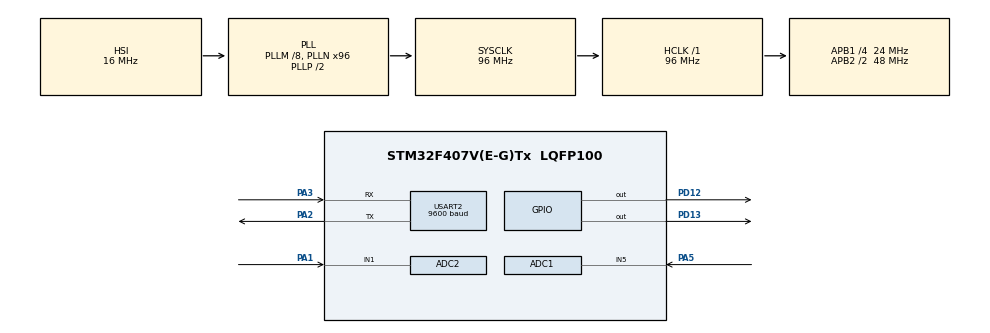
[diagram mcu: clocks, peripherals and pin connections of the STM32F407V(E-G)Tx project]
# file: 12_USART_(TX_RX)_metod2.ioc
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ADC1.Channel-0\#ChannelRegularConversion=ADC_CHANNEL_VREFINT
ADC1.Channel-1\#ChannelRegularConversion=ADC_CHANNEL_5
ADC1.Channel-2\#ChannelRegularConversion=ADC_CHANNEL_TEMPSENSOR
ADC1.ContinuousConvMode=ENABLE
ADC1.DMAContinuousRequests=ENABLE
ADC1.NbrOfConversion=3
ADC1.NbrOfConversionFlag=1
ADC1.Rank-0\#ChannelRegularConversion=1
ADC1.Rank-1\#ChannelRegularConversion=2
ADC1.Rank-2\#ChannelRegularConversion=3
ADC1.SamplingTime-0\#ChannelRegularConversion=ADC_SAMPLETIME_480CYCLES
ADC1.SamplingTime-1\#ChannelRegularConversion=ADC_SAMPLETIME_480CYCLES
ADC1.SamplingTime-2\#ChannelRegularConversion=ADC_SAMPLETIME_480CYCLES
ADC1.ScanConvMode=ENABLE
ADC1.master=1
ADC2.Channel-0\#ChannelRegularConversion=ADC_CHANNEL_1
ADC2.ContinuousConvMode=ENABLE
ADC2.DMAContinuousRequests=ENABLE
ADC2.NbrOfConversionFlag=1
ADC2.Rank-0\#ChannelRegularConversion=1
ADC2.SamplingTime-0\#ChannelRegularConversion=ADC_SAMPLETIME_480CYCLES
Dma.ADC1.0.Direction=DMA_PERIPH_TO_MEMORY
Dma.ADC1.0.FIFOMode=DMA_FIFOMODE_DISABLE
Dma.ADC1.0.Instance=DMA2_Stream0
Dma.ADC1.0.MemDataAlignment=DMA_MDATAALIGN_HALFWORD
Dma.ADC1.0.MemInc=DMA_MINC_ENABLE
Dma.ADC1.0.Mode=DMA_CIRCULAR
Dma.ADC1.0.PeriphDataAlignment=DMA_PDATAALIGN_HALFWORD
Dma.ADC1.0.PeriphInc=DMA_PINC_DISABLE
Dma.ADC1.0.Priority=DMA_PRIORITY_LOW
Dma.ADC2.1.Direction=DMA_PERIPH_TO_MEMORY
Dma.ADC2.1.FIFOMode=DMA_FIFOMODE_DISABLE
Dma.ADC2.1.Instance=DMA2_Stream2
Dma.ADC2.1.MemDataAlignment=DMA_MDATAALIGN_HALFWORD
Dma.ADC2.1.MemInc=DMA_MINC_ENABLE
Dma.ADC2.1.Mode=DMA_CIRCULAR
Dma.ADC2.1.PeriphDataAlignment=DMA_PDATAALIGN_HALFWORD
Dma.ADC2.1.PeriphInc=DMA_PINC_DISABLE
Dma.ADC2.1.Priority=DMA_PRIORITY_LOW
Dma.Request0=ADC1
Dma.Request1=ADC2
Mcu.Family=STM32F4
Mcu.Name=STM32F407V(E-G)Tx
Mcu.Package=LQFP100
NVIC.DMA2_Stream0_IRQn=true\:0\:0\:false\:false\:true\:false
NVIC.DMA2_Stream2_IRQn=true\:0\:0\:false\:false\:true\:false
NVIC.PriorityGroup=NVIC_PRIORITYGROUP_4
NVIC.USART2_IRQn=true\:0\:0\:false\:false\:true\:true
PA1.Signal=ADCx_IN1
PA13.Mode=Serial_Wire
PA13.Signal=SYS_JTMS-SWDIO
PA14.Mode=Serial_Wire
PA14.Signal=SYS_JTCK-SWCLK
PA2.Mode=Asynchronous
PA2.Signal=USART2_TX
PA3.Mode=Asynchronous
PA3.Signal=USART2_RX
PA5.Signal=ADCx_IN5
PD12.Signal=GPIO_Output
PD13.Signal=GPIO_Output
ProjectManager.HeapSize=0x200
ProjectManager.StackSize=0x400
ProjectManager.TargetToolchain=MDK-ARM V5
RCC.48MHZClocksFreq_Value=48000000
RCC.AHBFreq_Value=96000000
RCC.APB1CLKDivider=RCC_HCLK_DIV4
RCC.APB1Freq_Value=24000000
RCC.APB1TimFreq_Value=48000000
RCC.APB2CLKDivider=RCC_HCLK_DIV2
RCC.APB2Freq_Value=48000000
RCC.APB2TimFreq_Value=96000000
RCC.CortexFreq_Value=96000000
RCC.HCLKFreq_Value=96000000
RCC.HSE_VALUE=25000000
RCC.HSI_VALUE=16000000
RCC.LSE_VALUE=32768
RCC.PLLM=8
RCC.PLLN=96
RCC.SYSCLKFreq_VALUE=96000000
RCC.SYSCLKSource=RCC_SYSCLKSOURCE_PLLCLK
RCC.VCOOutputFreq_Value=192000000
SH.ADCx_IN1.0=ADC2_IN1,IN1
SH.ADCx_IN5.0=ADC1_IN5,IN5
USART2.BaudRate=9600
USART2.VirtualMode=VM_ASYNC
VP_ADC1_TempSens_Input.Mode=IN-TempSens
VP_ADC1_Vref_Input.Mode=IN-Vrefint
board=12_USART_(TX_RX)_metod2

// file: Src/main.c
/**
  ******************************************************************************
  * File Name          : main.c
  * Description        : Main program body
  ******************************************************************************
  ** This notice applies to any and all portions of this file
  * that are not between comment pairs USER CODE BEGIN and
  * USER CODE END. Other portions of this file, whether
  * inserted by the user or by software development tools
  * are owned by their respective copyright owners.
  *
  * COPYRIGHT(c) 2018 STMicroelectronics
  *
  * Redistribution and use in source and binary forms, with or without modification,
  * are permitted provided that the following conditions are met:
  *   1. Redistributions of source code must retain the above copyright notice,
  *      this list of conditions and the following disclaimer.
  *   2. Redistributions in binary form must reproduce the above copyright notice,
  *      this list of conditions and the following disclaimer in the documentation
  *      and/or other materials provided with the distribution.
  *   3. Neither the name of STMicroelectronics nor the names of its contributors
  *      may be used to endorse or promote products derived from this software
  *      without specific prior written permission.
  *
  * THIS SOFTWARE IS PROVIDED BY THE COPYRIGHT HOLDERS AND CONTRIBUTORS "AS IS"
  * AND ANY EXPRESS OR IMPLIED WARRANTIES, INCLUDING, BUT NOT LIMITED TO, THE
  * IMPLIED WARRANTIES OF MERCHANTABILITY AND FITNESS FOR A PARTICULAR PURPOSE ARE
  * DISCLAIMED. IN NO EVENT SHALL THE COPYRIGHT HOLDER OR CONTRIBUTORS BE LIABLE
  * FOR ANY DIRECT, INDIRECT, INCIDENTAL, SPECIAL, EXEMPLARY, OR CONSEQUENTIAL
  * DAMAGES (INCLUDING, BUT NOT LIMITED TO, PROCUREMENT OF SUBSTITUTE GOODS OR
  * SERVICES; LOSS OF USE, DATA, OR PROFITS; OR BUSINESS INTERRUPTION) HOWEVER
  * CAUSED AND ON ANY THEORY OF LIABILITY, WHETHER IN CONTRACT, STRICT LIABILITY,
  * OR TORT (INCLUDING NEGLIGENCE OR OTHERWISE) ARISING IN ANY WAY OUT OF THE USE
  * OF THIS SOFTWARE, EVEN IF ADVISED OF THE POSSIBILITY OF SUCH DAMAGE.
  *
  ******************************************************************************
  */
#include "main.h"
#include "stm32f4xx_hal.h"
#include "stdio.h"            // bunuda ekledik ve neden ?
/* USER CODE BEGIN Includes */

// ADC KISMI:

#define VREFIN_Cal ((uint16_t*)((uint32_t)0x1FFF7A2A)) // Vrefin calibration degeri memoriden okunur
#define V25 (float)0.76     // volt
#define avg_slope (float) 0.0025   //    volt/Centigrade

uint16_t adc1_data[3],adc2_data[1];

float Vref=0,Vadc1_ch5=0,Vsense=0, temperature=0,Vadc2_ch1=0;

// UART KISMI:
// hem transmit hem receive yapacagiz...
// stmstduio da gözlemlemek için degilkenler yazdik...

char rx0,rx1,rx2,rx3,rx4,rx5,rx6,rx7,rx8,rx9;
char db0,db1,db2,db3,db4,db5,db6,db7,db8,db9;
char rx[10];
char rx_buffer[10],data_buffer[10];
char tx[50];
uint8_t x=0,i=0,len=0,y=0,indeks=0,z=0,a=0;
uint8_t newline[100],rx_full=0,rx_size=10,d1,d2,d3,d4,d5,d6,d7,d8,d9,d10;
// char* tx_buffer="tx value";
// char* rx_buffer;

/* USER CODE END Includes */

ADC_HandleTypeDef hadc1;
ADC_HandleTypeDef hadc2;
DMA_HandleTypeDef hdma_adc1;
DMA_HandleTypeDef hdma_adc2;

UART_HandleTypeDef huart2;

/* USER CODE BEGIN PV */
/* Private variables ---------------------------------------------------------*/

/* USER CODE END PV */

void SystemClock_Config(void);
static void MX_GPIO_Init(void);
static void MX_DMA_Init(void);
static void MX_ADC1_Init(void);
static void MX_ADC2_Init(void);
static void MX_USART2_UART_Init(void);

/* USER CODE BEGIN PFP */
/* Private function prototypes -----------------------------------------------*/

 // ADC için :

 void HAL_ADC_ConvCpltCallback(ADC_HandleTypeDef* hadc)
 {
		Vref=(float)3.3*(*VREFIN_Cal)/adc1_data[0];
	  Vadc1_ch5=Vref*adc1_data[1]/4095;
	  Vsense=Vref*adc1_data[2]/4095;
    Vadc2_ch1=Vref*adc2_data[0]/4095;

		temperature=(Vsense-V25)/avg_slope+25;

 }

 // uart Tx Kismi :

 // Herbir data iletildiginde Pin toggle olucak :) intterpt ile :)
 //  tx complete call back ine dallaniyor
 // normal mod da yok :=>
 void HAL_UART_TxCpltCallback(UART_HandleTypeDef *huart)
 {
  if (huart->Instance==USART2)
		HAL_GPIO_TogglePin(GPIOD,GPIO_PIN_12);

	  i++;       // ilk örnekteki gönderme islemin kullaniliyor..
	  if(i==4)
		i=0;

 }

// uart Rx Kismi : -- Aktif
 // -ilk basta transmit yapiyoruz ilk örnekteki degerler ile
  void HAL_UART_RxCpltCallback(UART_HandleTypeDef *huart)
  {

  if( huart->Instance==USART2 )
	{
		HAL_GPIO_TogglePin(GPIOD,GPIO_PIN_13);
		rx_full=1;
	} // Rx in buffer'i doldugu zaman buraya dallaniyor..

 }

/* USER CODE END PFP */

int main(void)
{

  /* MCU Configuration----------------------------------------------------------*/

  /* Reset of all peripherals, Initializes the Flash interface and the Systick. */
  HAL_Init();

  /* Configure the system clock */
  SystemClock_Config();

  /* Initialize all configured peripherals */
  MX_GPIO_Init();
  MX_DMA_Init();
  MX_ADC1_Init();
  MX_ADC2_Init();
  MX_USART2_UART_Init();

  /* USER CODE BEGIN 2 */
HAL_ADC_Start_DMA(&hadc1,(uint32_t*)adc1_data,3); // start ettik.
HAL_ADC_Start_DMA(&hadc2,(uint32_t*)adc2_data,1);

  /* Infinite loop */
  /* USER CODE BEGIN WHILE */
  while (1)
  {
  /////////////////////////FIRST EXAMPLE/////////////////////////////
		HAL_UART_Receive_IT(&huart2,(uint8_t*)rx_buffer,10);
        HAL_Delay(100);
		// rx buffer 10 adet veri içeren dizi degiskeni
		// Rx tamamladiginda bir tane interrupta üretiyor fonksiyon yukaridadir..

		rx0=rx_buffer[0];		 // stmstduioda test etmek için rx_bufferlari atadik.
		rx1=rx_buffer[1];		 // asagida ki degerleri öncelikli olarak göndermeyi dene !
		rx2=rx_buffer[2];		 // ilk örnekteki......
		rx3=rx_buffer[3];
		rx4=rx_buffer[4];
		rx5=rx_buffer[5];
		rx6=rx_buffer[6];
		rx7=rx_buffer[7];
		rx8=rx_buffer[8];
		rx9=rx_buffer[9];

		float value[4];
		value[0]=Vref;
		value[1]=Vadc1_ch5;
		value[2]=Vadc2_ch1;
		value[3]=temperature;

		HAL_UART_Transmit_IT(&huart2,(uint8_t*)tx,sprintf(tx,"%d.value=%4.2f\n",i+1,value[i]));
		// Tx tamamladiginda bir tane interrupta üretiyor fonksiyon yukaridadir..
		// AYRICA O interruptta i DEGERI ARTMAKTADIR....
		// size yerine sprintf kullanildi..
		// sprint ile veri gönderiliyor...
		// i degeri interrupta aktif edilir.....
	  HAL_Delay(1000);
     /////////////////////////////////////////////////////////////////////////////////////////

		 /////////////////////////SECOND EXAMPLE/////////////////////////////

  }

}

/** System Clock Configuration
*/
void SystemClock_Config(void)
{

  RCC_OscInitTypeDef RCC_OscInitStruct;
  RCC_ClkInitTypeDef RCC_ClkInitStruct;

    /**Configure the main internal regulator output voltage
    */
  __HAL_RCC_PWR_CLK_ENABLE();

  __HAL_PWR_VOLTAGESCALING_CONFIG(PWR_REGULATOR_VOLTAGE_SCALE1);

    /**Initializes the CPU, AHB and APB busses clocks
    */
  RCC_OscInitStruct.OscillatorType = RCC_OSCILLATORTYPE_HSI;
  RCC_OscInitStruct.HSIState = RCC_HSI_ON;
  RCC_OscInitStruct.HSICalibrationValue = 16;
  RCC_OscInitStruct.PLL.PLLState = RCC_PLL_ON;
  RCC_OscInitStruct.PLL.PLLSource = RCC_PLLSOURCE_HSI;
  RCC_OscInitStruct.PLL.PLLM = 8;
  RCC_OscInitStruct.PLL.PLLN = 96;
  RCC_OscInitStruct.PLL.PLLP = RCC_PLLP_DIV2;
  RCC_OscInitStruct.PLL.PLLQ = 4;
  if (HAL_RCC_OscConfig(&RCC_OscInitStruct) != HAL_OK)
  {
    _Error_Handler(__FILE__, __LINE__);
  }

    /**Initializes the CPU, AHB and APB busses clocks
    */
  RCC_ClkInitStruct.ClockType = RCC_CLOCKTYPE_HCLK|RCC_CLOCKTYPE_SYSCLK
                              |RCC_CLOCKTYPE_PCLK1|RCC_CLOCKTYPE_PCLK2;
  RCC_ClkInitStruct.SYSCLKSource = RCC_SYSCLKSOURCE_PLLCLK;
  RCC_ClkInitStruct.AHBCLKDivider = RCC_SYSCLK_DIV1;
  RCC_ClkInitStruct.APB1CLKDivider = RCC_HCLK_DIV4;
  RCC_ClkInitStruct.APB2CLKDivider = RCC_HCLK_DIV2;

  if (HAL_RCC_ClockConfig(&RCC_ClkInitStruct, FLASH_LATENCY_3) != HAL_OK)
  {
    _Error_Handler(__FILE__, __LINE__);
  }

    /**Configure the Systick interrupt time
    */
  HAL_SYSTICK_Config(HAL_RCC_GetHCLKFreq()/1000);

    /**Configure the Systick
    */
  HAL_SYSTICK_CLKSourceConfig(SYSTICK_CLKSOURCE_HCLK);

  /* SysTick_IRQn interrupt configuration */
  HAL_NVIC_SetPriority(SysTick_IRQn, 0, 0);
}

/* ADC1 init function */
static void MX_ADC1_Init(void)
{

  ADC_ChannelConfTypeDef sConfig;

    /**Configure the global features of the ADC (Clock, Resolution, Data Alignment and number of conversion)
    */
  hadc1.Instance = ADC1;
  hadc1.Init.ClockPrescaler = ADC_CLOCK_SYNC_PCLK_DIV2;
  hadc1.Init.Resolution = ADC_RESOLUTION_12B;
  hadc1.Init.ScanConvMode = ENABLE;
  hadc1.Init.ContinuousConvMode = ENABLE;
  hadc1.Init.DiscontinuousConvMode = DISABLE;
  hadc1.Init.ExternalTrigConvEdge = ADC_EXTERNALTRIGCONVEDGE_NONE;
  hadc1.Init.ExternalTrigConv = ADC_SOFTWARE_START;
  hadc1.Init.DataAlign = ADC_DATAALIGN_RIGHT;
  hadc1.Init.NbrOfConversion = 3;
  hadc1.Init.DMAContinuousRequests = ENABLE;
  hadc1.Init.EOCSelection = ADC_EOC_SINGLE_CONV;
  if (HAL_ADC_Init(&hadc1) != HAL_OK)
  {
    _Error_Handler(__FILE__, __LINE__);
  }

    /**Configure for the selected ADC regular channel its corresponding rank in the sequencer and its sample time.
    */
  sConfig.Channel = ADC_CHANNEL_VREFINT;
  sConfig.Rank = 1;
  sConfig.SamplingTime = ADC_SAMPLETIME_480CYCLES;
  if (HAL_ADC_ConfigChannel(&hadc1, &sConfig) != HAL_OK)
  {
    _Error_Handler(__FILE__, __LINE__);
  }

    /**Configure for the selected ADC regular channel its corresponding rank in the sequencer and its sample time.
    */
  sConfig.Channel = ADC_CHANNEL_5;
  sConfig.Rank = 2;
  if (HAL_ADC_ConfigChannel(&hadc1, &sConfig) != HAL_OK)
  {
    _Error_Handler(__FILE__, __LINE__);
  }

    /**Configure for the selected ADC regular channel its corresponding rank in the sequencer and its sample time.
    */
  sConfig.Channel = ADC_CHANNEL_TEMPSENSOR;
  sConfig.Rank = 3;
  if (HAL_ADC_ConfigChannel(&hadc1, &sConfig) != HAL_OK)
  {
    _Error_Handler(__FILE__, __LINE__);
  }

}

/* ADC2 init function */
static void MX_ADC2_Init(void)
{

  ADC_ChannelConfTypeDef sConfig;

    /**Configure the global features of the ADC (Clock, Resolution, Data Alignment and number of conversion)
    */
  hadc2.Instance = ADC2;
  hadc2.Init.ClockPrescaler = ADC_CLOCK_SYNC_PCLK_DIV2;
  hadc2.Init.Resolution = ADC_RESOLUTION_12B;
  hadc2.Init.ScanConvMode = DISABLE;
  hadc2.Init.ContinuousConvMode = ENABLE;
  hadc2.Init.DiscontinuousConvMode = DISABLE;
  hadc2.Init.ExternalTrigConvEdge = ADC_EXTERNALTRIGCONVEDGE_NONE;
  hadc2.Init.ExternalTrigConv = ADC_SOFTWARE_START;
  hadc2.Init.DataAlign = ADC_DATAALIGN_RIGHT;
  hadc2.Init.NbrOfConversion = 1;
  hadc2.Init.DMAContinuousRequests = ENABLE;
  hadc2.Init.EOCSelection = ADC_EOC_SINGLE_CONV;
  if (HAL_ADC_Init(&hadc2) != HAL_OK)
  {
    _Error_Handler(__FILE__, __LINE__);
  }

    /**Configure for the selected ADC regular channel its corresponding rank in the sequencer and its sample time.
    */
  sConfig.Channel = ADC_CHANNEL_1;
  sConfig.Rank = 1;
  sConfig.SamplingTime = ADC_SAMPLETIME_480CYCLES;
  if (HAL_ADC_ConfigChannel(&hadc2, &sConfig) != HAL_OK)
  {
    _Error_Handler(__FILE__, __LINE__);
  }

}

/* USART2 init function */
static void MX_USART2_UART_Init(void)
{

  huart2.Instance = USART2;
  huart2.Init.BaudRate = 9600;
  huart2.Init.WordLength = UART_WORDLENGTH_8B;
  huart2.Init.StopBits = UART_STOPBITS_1;
  huart2.Init.Parity = UART_PARITY_NONE;
  huart2.Init.Mode = UART_MODE_TX_RX;
  huart2.Init.HwFlowCtl = UART_HWCONTROL_NONE;
  huart2.Init.OverSampling = UART_OVERSAMPLING_16;
  if (HAL_UART_Init(&huart2) != HAL_OK)
  {
    _Error_Handler(__FILE__, __LINE__);
  }

}

static void MX_DMA_Init(void)
{
  /* DMA controller clock enable */
  __HAL_RCC_DMA2_CLK_ENABLE();

  /* DMA interrupt init */
  /* DMA2_Stream0_IRQn interrupt configuration */
  HAL_NVIC_SetPriority(DMA2_Stream0_IRQn, 0, 0);
  HAL_NVIC_EnableIRQ(DMA2_Stream0_IRQn);
  /* DMA2_Stream2_IRQn interrupt configuration */
  HAL_NVIC_SetPriority(DMA2_Stream2_IRQn, 0, 0);
  HAL_NVIC_EnableIRQ(DMA2_Stream2_IRQn);

}

/** Configure pins as
        * Analog
        * Input
        * Output
        * EVENT_OUT
        * EXTI
*/
static void MX_GPIO_Init(void)
{

  GPIO_InitTypeDef GPIO_InitStruct;

  /* GPIO Ports Clock Enable */
  __HAL_RCC_GPIOA_CLK_ENABLE();
  __HAL_RCC_GPIOD_CLK_ENABLE();

  /*Configure GPIO pin Output Level */
  HAL_GPIO_WritePin(GPIOD, GPIO_PIN_12|GPIO_PIN_13, GPIO_PIN_RESET);

  /*Configure GPIO pins : PD12 PD13 */
  GPIO_InitStruct.Pin = GPIO_PIN_12|GPIO_PIN_13;
  GPIO_InitStruct.Mode = GPIO_MODE_OUTPUT_PP;
  GPIO_InitStruct.Pull = GPIO_NOPULL;
  GPIO_InitStruct.Speed = GPIO_SPEED_FREQ_LOW;
  HAL_GPIO_Init(GPIOD, &GPIO_InitStruct);

}

void _Error_Handler(char * file, int line)
{
  while(1)
  {
  }
}

/************************ (C) COPYRIGHT STMicroelectronics *****END OF FILE****/
